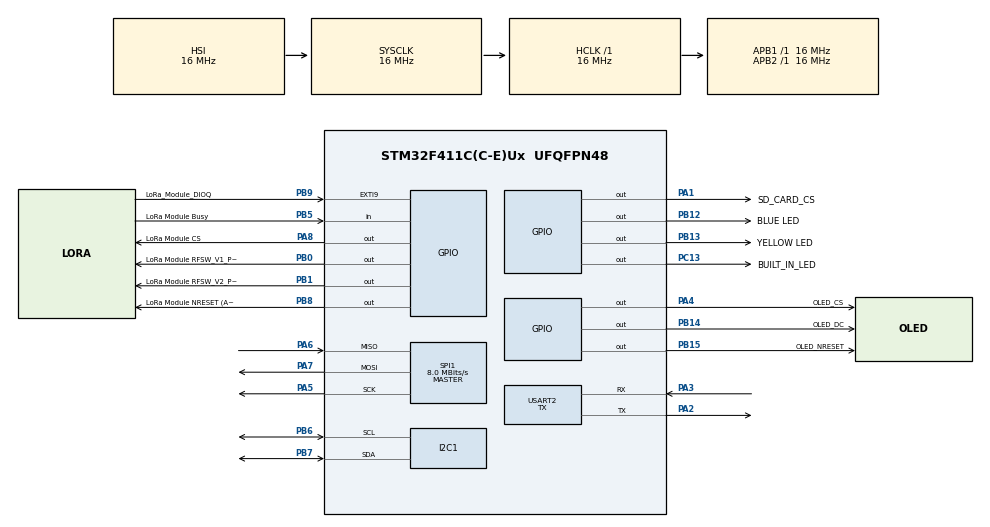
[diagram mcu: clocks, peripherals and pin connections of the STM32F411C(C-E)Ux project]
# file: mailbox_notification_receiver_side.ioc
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I2C1.GeneralCallMode=I2C_GENERALCALL_DISABLE
I2C1.I2C_Mode=I2C_Standard
Mcu.Family=STM32F4
Mcu.Name=STM32F411C(C-E)Ux
Mcu.Package=UFQFPN48
NVIC.EXTI9_5_IRQn=true\:0\:0\:false\:false\:true\:true\:true\:true
NVIC.PriorityGroup=NVIC_PRIORITYGROUP_4
PA1.GPIO_Label=SD_CARD_CS
PA1.PinState=GPIO_PIN_SET
PA1.Signal=GPIO_Output
PA2.GPIO_Speed=GPIO_SPEED_FREQ_LOW
PA2.Mode=Asynchronous
PA2.Signal=USART2_TX
PA3.GPIO_Speed=GPIO_SPEED_FREQ_LOW
PA3.Mode=Asynchronous
PA3.Signal=USART2_RX
PA4.GPIO_Label=OLED_CS
PA4.PinState=GPIO_PIN_SET
PA4.Signal=GPIO_Output
PA5.GPIO_Speed=GPIO_SPEED_FREQ_LOW
PA5.Mode=Full_Duplex_Master
PA5.Signal=SPI1_SCK
PA6.GPIO_Speed=GPIO_SPEED_FREQ_LOW
PA6.Mode=Full_Duplex_Master
PA6.Signal=SPI1_MISO
PA7.GPIO_Speed=GPIO_SPEED_FREQ_LOW
PA7.Mode=Full_Duplex_Master
PA7.Signal=SPI1_MOSI
PA8.GPIO_Label=LoRa Module CS
PA8.PinState=GPIO_PIN_SET
PA8.Signal=GPIO_Output
PB0.GPIO_Label=LoRa Module RFSW_V1_PIN_POS
PB0.Signal=GPIO_Output
PB1.GPIO_Label=LoRa Module RFSW_V2_PIN_POS
PB1.Signal=GPIO_Output
PB12.GPIO_Label=BLUE LED
PB12.Signal=GPIO_Output
PB13.GPIO_Label=YELLOW LED
PB13.PinState=GPIO_PIN_RESET
PB13.Signal=GPIO_Output
PB14.GPIO_Label=OLED_DC
PB14.Signal=GPIO_Output
PB15.GPIO_Label=OLED_NRESET
PB15.PinState=GPIO_PIN_SET
PB15.Signal=GPIO_Output
PB5.GPIO_Label=LoRa Module Busy
PB5.Signal=GPIO_Input
PB6.GPIO_Speed=GPIO_SPEED_FREQ_LOW
PB6.Mode=I2C
PB6.Signal=I2C1_SCL
PB7.GPIO_Speed=GPIO_SPEED_FREQ_LOW
PB7.Mode=I2C
PB7.Signal=I2C1_SDA
PB8.GPIO_Label=LoRa Module NRESET (Active-Low)
PB8.PinState=GPIO_PIN_SET
PB8.Signal=GPIO_Output
PB9.GPIO_Label=LoRa_Module_DIOQ
PB9.GPIO_PuPd=GPIO_PULLDOWN
PB9.Signal=GPXTI9
PC13-ANTI_TAMP.GPIO_Label=BUILT_IN_LED
PC13-ANTI_TAMP.PinState=GPIO_PIN_SET
PC13-ANTI_TAMP.Signal=GPIO_Output
PC14-OSC32_IN.Mode=LSE-External-Oscillator
PC14-OSC32_IN.Signal=RCC_OSC32_IN
PC15-OSC32_OUT.Mode=LSE-External-Oscillator
PC15-OSC32_OUT.Signal=RCC_OSC32_OUT
ProjectManager.HeapSize=0x200
ProjectManager.StackSize=0x400
ProjectManager.TargetToolchain=STM32CubeIDE
RCC.48MHZClocksFreq_Value=48000000
RCC.AHBFreq_Value=16000000
RCC.APB1Freq_Value=16000000
RCC.APB1TimFreq_Value=16000000
RCC.APB2Freq_Value=16000000
RCC.APB2TimFreq_Value=16000000
RCC.CortexFreq_Value=16000000
RCC.HCLKFreq_Value=16000000
RCC.HSE_VALUE=25000000
RCC.HSI_VALUE=16000000
RCC.RCC_RTC_Clock_Source=RCC_RTCCLKSOURCE_LSE
RCC.RCC_RTC_Clock_SourceVirtual=RCC_RTCCLKSOURCE_LSE
RCC.SYSCLKFreq_VALUE=16000000
RCC.VCOOutputFreq_Value=192000000
SPI1.BaudRatePrescaler=SPI_BAUDRATEPRESCALER_2
SPI1.CLKPhase=SPI_PHASE_1EDGE
SPI1.CalculateBaudRate=8.0 MBits/s
SPI1.Direction=SPI_DIRECTION_2LINES
SPI1.Mode=SPI_MODE_MASTER
SPI1.VirtualType=VM_MASTER
USART2.Mode=MODE_TX
USART2.VirtualMode=VM_ASYNC
VP_RTC_VS_RTC_Activate.Mode=RTC_Enabled
VP_RTC_VS_RTC_Calendar.Mode=RTC_Calendar
board=custom

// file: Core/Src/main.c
/* USER CODE BEGIN Header */
/**
  ******************************************************************************
  * @file           : main.c
  * @brief          : Main program body
  ******************************************************************************
  * @attention
  *
  * Copyright (c) 2026 STMicroelectronics.
  * All rights reserved.
  *
  * This software is licensed under terms that can be found in the LICENSE file
  * in the root directory of this software component.
  * If no LICENSE file comes with this software, it is provided AS-IS.
  *
  ******************************************************************************
  */
/* USER CODE END Header */
#include "main.h"

/* USER CODE BEGIN Includes */
#include "rylr689_driver.h"
#include "ds3231_driver.h"
#include "stm32_commons.h"
#include "sdCard_driver.h"
#include "ff.h"
#include "oled_sh1106_driver.h"
#include <string.h>

/* USER CODE END Includes */

/* USER CODE BEGIN PD */
#define LAST_UPDATE_HEADER_LINE		0
#define DATE_HEADER_LINE 			1
#define TIME_HEADER_LINE 			2
#define MAIL_STATUS_HEADER_LINE 	4
#define MAIL_MSG_LINE_START 		5
#define MAIL_MSG_LINE_END 			7
#define MISSED_NOTIFICATION_LIMIT	3
#define RTC_BASE_CENTURY			2000

#define TIME_FORMAT_WIDTH 8 /* HH:MM:SS -> 10 characters. */
#define DATE_FORMAT_WIDTH 10 /* MM:DD:YYYY -> 10 characters. */
#define MAILBOX_RXTX_MAGIC_NUMBER 0xDEADBEEFU

/* USER CODE END PD */

I2C_HandleTypeDef hi2c1;

RTC_HandleTypeDef hrtc;

SPI_HandleTypeDef hspi1;

UART_HandleTypeDef huart2;

/* USER CODE BEGIN PV */

sdCard_instance_t sdCardDev;

/* USER CODE END PV */

void SystemClock_Config(void);
static void MX_GPIO_Init(void);
static void MX_SPI1_Init(void);
static void MX_USART2_UART_Init(void);
static void MX_I2C1_Init(void);
static void MX_RTC_Init(void);
/* USER CODE BEGIN PFP */
static void rylry689_radio_init(rylr689_instance_t *dev, uint8_t *buffer);
static void sh1106_oled_init(oled_sh1106_instance_t *dev);
static void ds3231_rtc_init(ds3231_instance_t *dev);
static void sdCard_global_init(void);
static void syncIntRTCPeriphToExtRTC(ds3231_instance_t *dev);

static void getDateTime(RTC_TimeTypeDef *curTime, RTC_DateTypeDef *curDate);

/* USER CODE END PFP */

/* USER CODE BEGIN 0 */
typedef enum {
	STATE_APP_START = 0,
	STATE_SLEEP_ON_WAIT,
	STATE_ON_RECEIVE
} app_state_t;

typedef enum {
	MAIL_ABSENT = 0,
	MAIL_PRESENT,
	MAIL_MISSED_INITIAL_NOTIFICATION
} mail_state_t;

volatile app_state_t appState = STATE_APP_START;

/* USER CODE END 0 */

int main(void)
{

  /* MCU Configuration--------------------------------------------------------*/

  /* Reset of all peripherals, Initializes the Flash interface and the Systick. */
  HAL_Init();

  /* Configure the system clock */
  SystemClock_Config();

  /* Initialize all configured peripherals */
  MX_GPIO_Init();
  MX_SPI1_Init();
  MX_USART2_UART_Init();
  MX_I2C1_Init();
  MX_RTC_Init();
  /* USER CODE BEGIN 2 */

	/* Oled module START. */
	oled_sh1106_instance_t oled1;
	sh1106_oled_init(&oled1);
	/* Oled module END. */

	/* RTC module START. */
	ds3231_instance_t rtc1;
	ds3231_rtc_init(&rtc1);
	/* Update MCU RTC peripheral to avoid constantly querying ds3231 module. */
	syncIntRTCPeriphToExtRTC(&rtc1);

	RTC_TimeTypeDef curTime = {0};
	RTC_DateTypeDef curDate = {0};
	getDateTime(&curTime, &curDate);
	/* RTC module END. */

    /* SD card module START. */
	sdCard_global_init(); /* Initialize SD card. */

	FATFS fs;   /* File system. */
	FIL file;   /* File handler. */
	FRESULT res; /* Result from file function calls. */
	UINT br; /* Bytes read from file. */
	UINT bw; /* Bytes written to file. */

	/* Original files will have only the date stamp. If this file exist but the header
	 * did not match, create a new file with time stamp.
	 *
	 * The limitation is that when the original fails. Then each boot up for the current
	 * date will create new files with new time stamp. To avoid this, one possible solution
	 * is to create a backup file for failing files, then reuse the original filename. This way
	 * file creation can be reduced. The down-side is that creating a backup may take time if
	 * original file is large.
	 *
	 * */
	char filename[30];
	char header[] = "Date: [mm-dd-yyyy],Time (24-hour format): [hh-mm-ss],Status:\r\n";
	uint32_t headerLen = strlen(header);

	res = f_mount(&fs, "",0);

	snprintf(filename, 29, "mailbox_log_%04u-%02u-%02u.csv", \
			(curDate.Year + RTC_BASE_CENTURY), curDate.Month, curDate.Date);
	uint32_t startTime = HAL_GetTick();

	/* Open file for current date. */
	while((res = f_open(&file, filename, FA_WRITE | FA_READ | FA_OPEN_APPEND)) != FR_OK) {
		if((HAL_GetTick() - startTime) > SD_TIMEOUT) {
			char *errMsg = "SD card error! Failed to mount file system!";
			sh1106_setAtCharacter(&oled1, LAST_UPDATE_HEADER_LINE, 0);
			sh1106_write_line(&oled1, errMsg, strlen(errMsg));
			Error_Handler();
		}
	}

	/* Check if file is empty. If not check if header exist. */
	if(f_size(&file) > 0) {
		char testRead[headerLen];
		/* Set cursor to beginning. Then perform a read. */
		f_lseek(&file, 0);
		res = f_read(&file, testRead, headerLen, &br);

		/* 1st Method of handling failing files. */
		/* No matching header. Create new file for same date but with timestamp. */
		if(memcmp((char*)testRead, header, headerLen) != 0) {
			FIL tempFile;
			char tempFilename[FF_MAX_LFN];
			uint8_t readBuff[512];
			UINT bytesRead;
			UINT bytesWritten;
			FSIZE_t bytesCopied = 0;
			FSIZE_t bytesRemaining = f_size(&file); /* Though f_size() returns uint64_t, it may be unrealistic
																	  for a CSV file to be that large. So, only the lower 32-bit
																	  will be used for now. */

			char msgDspBuff[50] = "Error with log file! Performing backup...";
			char *bytesRemHeader = "Bytes remaining: ";
			char *bytesCopHeader = "Bytes copied: ";

			uint8_t oldBytesRemValBuffLen;
			uint8_t oldBytesCopValBuffLen;

			sh1106_setAtCharacter(&oled1, LAST_UPDATE_HEADER_LINE, 0);
			sh1106_write_line(&oled1, msgDspBuff, strlen(msgDspBuff));

			/* Line #2. */
			sprintf(msgDspBuff, "File size: %lu", (uint32_t)bytesRemaining);
			sh1106_setAtCharacter(&oled1, LAST_UPDATE_HEADER_LINE + 2, 0);
			sh1106_write_line(&oled1, msgDspBuff, strlen(msgDspBuff));

			/* Line #4. */
			sh1106_setAtCharacter(&oled1, LAST_UPDATE_HEADER_LINE + 3, 0);
			sh1106_write_line(&oled1, bytesRemHeader, strlen(bytesRemHeader));
			sprintf(msgDspBuff, "%lu", (uint32_t)bytesRemaining);
			sh1106_setAtCharacter(&oled1, LAST_UPDATE_HEADER_LINE + 4, 0);
			sh1106_write_line(&oled1, msgDspBuff, strlen(msgDspBuff));
			oldBytesRemValBuffLen = strlen(msgDspBuff);

			/* Line #5. */
			sh1106_setAtCharacter(&oled1, LAST_UPDATE_HEADER_LINE + 5, 0);
			sh1106_write_line(&oled1, bytesCopHeader, strlen(bytesCopHeader));
			sprintf(msgDspBuff, "%lu", (uint32_t)bytesCopied);
			sh1106_setAtCharacter(&oled1, LAST_UPDATE_HEADER_LINE + 6, 0);
			sh1106_write_line(&oled1, msgDspBuff, strlen(msgDspBuff));
			oldBytesCopValBuffLen = strlen(msgDspBuff);

			getDateTime(&curTime, &curDate);

			/* Filename format: mail_log_YYYY-MM-DD_hh-mm-ss.csv. */
			snprintf(tempFilename, FF_MAX_LFN, "bak_failing_log_%04u-%02u-%02u_%02u-%02u-%02u.csv", \
					(curDate.Year + RTC_BASE_CENTURY), curDate.Month, curDate.Date, \
					 curTime.Hours, curTime.Minutes, curTime.Seconds);

			f_open(&tempFile, tempFilename, (FA_WRITE | FA_READ | FA_OPEN_APPEND));

			/* Set cursor to beginning of original file. Then perform a read. */
			f_lseek(&file, 0);

			while(bytesRemaining > bytesCopied) {
				f_read(&file, readBuff, 512, &bytesRead);
				f_write(&tempFile, readBuff, bytesRead, &bytesWritten);
				f_sync(&tempFile);
				bytesCopied += bytesWritten;

				/* Display bytes remaining to be copied. */
				sprintf(msgDspBuff, "%lu", (uint32_t)(bytesRemaining - bytesCopied));

				if(oldBytesRemValBuffLen > strlen(msgDspBuff)) {
				  memset((msgDspBuff + strlen(msgDspBuff)), ' ', oldBytesRemValBuffLen - strlen(msgDspBuff));
				}
				sh1106_setAtCharacter(&oled1, LAST_UPDATE_HEADER_LINE + 4, 0);
				sh1106_write_line(&oled1, msgDspBuff, strlen(msgDspBuff));

				/* Display bytes copied. */
				sprintf(msgDspBuff, "%lu", (uint32_t)bytesCopied);
				if(oldBytesCopValBuffLen > strlen(msgDspBuff)) {
				  memset((msgDspBuff + strlen(msgDspBuff)), ' ', oldBytesCopValBuffLen - strlen(msgDspBuff));
				}
				sh1106_setAtCharacter(&oled1, LAST_UPDATE_HEADER_LINE + 6, 0);
				sh1106_write_line(&oled1, msgDspBuff, strlen(msgDspBuff));
			}
			sh1106_clearScreen(&oled1);

			f_close(&tempFile);

			/* Set cursor to beginning of original file. Then delete its contents, keeping file open. */
			f_lseek(&file, 0);
			f_truncate(&file);
			f_write(&file, header, headerLen, &bw);
			f_sync(&file);
		}
		else {
			/* Move back the cursor to EOF. To prepare for possible file write operations. */
			f_lseek(&file, f_size(&file));
		}

//		/* 2nd method. */
//		/* No matching header. Create new file for same date but with timestamp. */
//		if(memcmp((char*)testRead, header, headerLen) != 0) {
//			f_close(&file); /* Close current file. */
//
//			char tempFilename[FF_MAX_LFN];
//			getDateTime(&curTime, &curDate);
//			/* Filename format: mail_log_YYYY-MM-DD_hh-mm-ss.csv. */
//			snprintf(tempFilename, FF_MAX_LFN, "mailbox_log_%04u-%02u-%02u_%02u-%02u-%02u.csv", \
//					(curDate.Year + RTC_BASE_CENTURY), curDate.Month, curDate.Date, \
//					 curTime.Hours, curTime.Minutes, curTime.Seconds);
//			f_open(&file, tempFilename, (FA_WRITE | FA_READ | FA_OPEN_APPEND));
//			res = f_write(&file, header, headerLen, &bw);
//			f_sync(&file);
//		}
//		else {
//			/* Move back the cursor to EOF. To prepare for possible file write operations. */
//			f_lseek(&file, fileSize);
//		}
	}
	else {
		res = f_write(&file, header, headerLen, &bw);
		f_sync(&file);
	}

//	/* For debug. */
//	f_close(&file);
//	HAL_GPIO_WritePin(YELLOW_LED_GPIO_Port, YELLOW_LED_Pin, GPIO_PIN_SET);
//	HAL_GPIO_WritePin(BLUE_LED_GPIO_Port, BLUE_LED_Pin, GPIO_PIN_SET);
	/* SD card module END. */

	HAL_GPIO_WritePin(BUILT_IN_LED_GPIO_Port, BUILT_IN_LED_Pin, GPIO_PIN_RESET);

	/* Radio module START. */
	uint8_t status[256];
	rylr689_instance_t radio1;
	rylry689_radio_init(&radio1, status);
	uint32_t packetSizeReceived;
	/* Radio module END. */

	char msg[50];

	/* +1 for null character. */
	char dateBuff[DATE_FORMAT_WIDTH + 1];
	char timeBuff[TIME_FORMAT_WIDTH + 1];

	char* lastUpdateHeader = "Last updated:";
	char *dateHeader = "Date: ";
	char *timeHeader = "Time: ";
	char *mailHeader = "Mailbox Status: ";

	/* Write headers to designated lines. */
	sh1106_setAtCharacter(&oled1, LAST_UPDATE_HEADER_LINE, 0);
	sh1106_write_line(&oled1, lastUpdateHeader, strlen(lastUpdateHeader));

	sh1106_setAtCharacter(&oled1, DATE_HEADER_LINE, 0);
	sh1106_write_line(&oled1, dateHeader, strlen(dateHeader));

	sh1106_setAtCharacter(&oled1, TIME_HEADER_LINE, 0);
	sh1106_write_line(&oled1, timeHeader, strlen(timeHeader));

	sh1106_setAtCharacter(&oled1, MAIL_STATUS_HEADER_LINE, 0);
	sh1106_write_line(&oled1, mailHeader, strlen(mailHeader));

	snprintf(dateBuff, DATE_FORMAT_WIDTH + 1,"%02u/%02u/%04u", curDate.Month, curDate.Date, (uint16_t)curDate.Year + RTC_BASE_CENTURY);
	snprintf(timeBuff, TIME_FORMAT_WIDTH + 1, "%02u:%02u:%02u", curTime.Hours, curTime.Minutes, curTime.Seconds);

	/* Go back to date line. */
	sh1106_setAtCharacter(&oled1, DATE_HEADER_LINE, strlen(dateHeader));
	sh1106_write_line(&oled1, dateBuff, strlen(dateBuff));

	/* Go back to time line. */
	sh1106_setAtCharacter(&oled1, TIME_HEADER_LINE, strlen(timeHeader));
	sh1106_write_line(&oled1, timeBuff, strlen(timeBuff));

	/* Go to message line. */
	sh1106_setAtCharacter(&oled1, MAIL_MSG_LINE_START, 0);

	sprintf(msg, "No mail!");
	sh1106_write_line(&oled1, msg, strlen(msg));

	uint8_t oldStatus = MAIL_ABSENT;
	uint8_t oldMsgLen = strlen(msg);
	RTC_DateTypeDef savedDate = curDate;

  /* USER CODE END 2 */

  /* Infinite loop */
  /* USER CODE BEGIN WHILE */

  while (1) {
	  switch(appState) {
		  case STATE_APP_START:
			  rylr689_radio_receive_it(&radio1);
			  appState = STATE_SLEEP_ON_WAIT;
			  break;
		  case STATE_SLEEP_ON_WAIT:
			  /* Put device to sleep. Do not change the status here. Only ISR can change the status upon receiving packet.
			   * For now, radio will be ON while MCU is in STOP mode waiting for interrupt from radio. */

			  /* Set to STOP mode here. MCU may wake up from non-radio related wake-up signal, but will be
			   * handled by the application's state.  */
//			  enterStopMode();
//
//			  /* Sleeps... */
//
//			  /* Recover*/
//			  SystemClock_Config();
//			  HAL_ResumeTick();
//
//			  /* Clear wake up flag for clean sleep state after waking. */
//			  clearWakeUpFlags();

			  break;
		  case STATE_ON_RECEIVE:

			  /* Fetch packet. */
			  rylr689_radio_get_packet(&radio1, &packetSizeReceived);

			  /* Packet must be 5 bytes. */
			  if(packetSizeReceived != sizeof(uint32_t) + 1) {
				  Error_Handler();
			  }

			  uint32_t magicVal;
			  /* Skip first bytes then copy the last four bytes. */
			  memcpy(&magicVal, radio1.rxBuff + 1, sizeof(uint32_t));

			  if(magicVal != MAILBOX_RXTX_MAGIC_NUMBER) {
				  Error_Handler();
			  }

			  getDateTime(&curTime, &curDate);
			  /* Update date only when it is different. */
			  if((curDate.Month != savedDate.Month) || (curDate.Date != savedDate.Date ) || (curDate.Year != savedDate.Year)) {
				  	  savedDate = curDate;
					  /* Go back to Date header line. */
					  sh1106_setAtCharacter(&oled1, DATE_HEADER_LINE, strlen(dateHeader));
					  snprintf(dateBuff, DATE_FORMAT_WIDTH + 1,"%02u/%02u/%04u", curDate.Month, curDate.Date, (uint16_t)curDate.Year + RTC_BASE_CENTURY);
					  sh1106_write_line(&oled1, dateBuff, DATE_FORMAT_WIDTH);
			  }

			  /* Go back to Time header line and update time every second. */
			  sh1106_setAtCharacter(&oled1, TIME_HEADER_LINE, strlen(timeHeader));
			  snprintf(timeBuff, TIME_FORMAT_WIDTH + 1, "%02u:%02u:%02u", curTime.Hours, curTime.Minutes, curTime.Seconds);
			  sh1106_write_line(&oled1, timeBuff, TIME_FORMAT_WIDTH);

			  /* Check mailbox status. */
			  switch(status[0]) {
				  case 0:
					  sprintf(msg, "No mail!");
					  HAL_GPIO_WritePin(YELLOW_LED_GPIO_Port, YELLOW_LED_Pin, GPIO_PIN_SET);
					  HAL_GPIO_WritePin(BLUE_LED_GPIO_Port, BLUE_LED_Pin, GPIO_PIN_RESET);
					  break;
				  case 1:
					  sprintf(msg, "New mail arrived!");
					  HAL_GPIO_WritePin(YELLOW_LED_GPIO_Port, YELLOW_LED_Pin, GPIO_PIN_RESET);
					  HAL_GPIO_WritePin(BLUE_LED_GPIO_Port, BLUE_LED_Pin, GPIO_PIN_SET);
					  break;
				  case 2:
					  sprintf(msg, "Old and possibly new mail inside mailbox!");
					  HAL_GPIO_WritePin(YELLOW_LED_GPIO_Port, YELLOW_LED_Pin, GPIO_PIN_SET);
					  HAL_GPIO_WritePin(BLUE_LED_GPIO_Port, BLUE_LED_Pin, GPIO_PIN_SET);
					  break;
				  default:
					  /* For testing only. */
					  sprintf(msg, "False alarm!");
					  HAL_GPIO_WritePin(YELLOW_LED_GPIO_Port, YELLOW_LED_Pin, GPIO_PIN_RESET);
					  HAL_GPIO_WritePin(BLUE_LED_GPIO_Port, BLUE_LED_Pin, GPIO_PIN_RESET);
			  }
			  /* For debug. */
			  HAL_UART_Transmit(&huart2, (uint8_t*)msg, strlen(msg), 100);

			  char log[101];
			  snprintf(log, 100, "%02u/%02u/%04u,%02u:%02u:%02u,%s\r\n", \
					   curDate.Month, curDate.Date, (uint16_t)curDate.Year + RTC_BASE_CENTURY, \
					   curTime.Hours, curTime.Minutes, curTime.Seconds, msg);

			  f_write(&file, log, strlen(log), &bw);
			  f_sync(&file);

			/* Go to message line. Update only if status has changed.*/
			if(status[0] != oldStatus) {
				uint8_t newMsgLen = strlen(msg);

				/* For erasing left-over characters from old message, if necessary. */
				if(oldMsgLen > newMsgLen) {
					memset((msg + newMsgLen), ' ', oldMsgLen - newMsgLen);
				}

				/* Set cursor for the new message and write new message. */
				sh1106_setAtCharacter(&oled1, MAIL_MSG_LINE_START, 0);
				sh1106_write_line(&oled1, msg, (oldMsgLen > newMsgLen) ? oldMsgLen : newMsgLen);

				/* Update "new" old. */
				oldStatus = status[0];
				oldMsgLen = newMsgLen;
			}
			/* Reset state. */
			appState = STATE_APP_START;
			break;
		  default:
			  /* Do nothing. */
	  }
  }

    /* USER CODE END WHILE */

}

void SystemClock_Config(void)
{
  RCC_OscInitTypeDef RCC_OscInitStruct = {0};
  RCC_ClkInitTypeDef RCC_ClkInitStruct = {0};

  /** Configure the main internal regulator output voltage
  */
  __HAL_RCC_PWR_CLK_ENABLE();
  __HAL_PWR_VOLTAGESCALING_CONFIG(PWR_REGULATOR_VOLTAGE_SCALE1);

  /** Initializes the RCC Oscillators according to the specified parameters
  * in the RCC_OscInitTypeDef structure.
  */
  RCC_OscInitStruct.OscillatorType = RCC_OSCILLATORTYPE_HSI|RCC_OSCILLATORTYPE_LSE;
  RCC_OscInitStruct.LSEState = RCC_LSE_ON;
  RCC_OscInitStruct.HSIState = RCC_HSI_ON;
  RCC_OscInitStruct.HSICalibrationValue = RCC_HSICALIBRATION_DEFAULT;
  RCC_OscInitStruct.PLL.PLLState = RCC_PLL_NONE;
  if (HAL_RCC_OscConfig(&RCC_OscInitStruct) != HAL_OK)
  {
    Error_Handler();
  }

  /** Initializes the CPU, AHB and APB buses clocks
  */
  RCC_ClkInitStruct.ClockType = RCC_CLOCKTYPE_HCLK|RCC_CLOCKTYPE_SYSCLK
                              |RCC_CLOCKTYPE_PCLK1|RCC_CLOCKTYPE_PCLK2;
  RCC_ClkInitStruct.SYSCLKSource = RCC_SYSCLKSOURCE_HSI;
  RCC_ClkInitStruct.AHBCLKDivider = RCC_SYSCLK_DIV1;
  RCC_ClkInitStruct.APB1CLKDivider = RCC_HCLK_DIV1;
  RCC_ClkInitStruct.APB2CLKDivider = RCC_HCLK_DIV1;

  if (HAL_RCC_ClockConfig(&RCC_ClkInitStruct, FLASH_LATENCY_0) != HAL_OK)
  {
    Error_Handler();
  }
}

static void MX_I2C1_Init(void)
{

  hi2c1.Instance = I2C1;
  hi2c1.Init.ClockSpeed = 100000;
  hi2c1.Init.DutyCycle = I2C_DUTYCYCLE_2;
  hi2c1.Init.OwnAddress1 = 0;
  hi2c1.Init.AddressingMode = I2C_ADDRESSINGMODE_7BIT;
  hi2c1.Init.DualAddressMode = I2C_DUALADDRESS_DISABLE;
  hi2c1.Init.OwnAddress2 = 0;
  hi2c1.Init.GeneralCallMode = I2C_GENERALCALL_DISABLE;
  hi2c1.Init.NoStretchMode = I2C_NOSTRETCH_DISABLE;
  if (HAL_I2C_Init(&hi2c1) != HAL_OK)
  {
    Error_Handler();
  }

}

static void MX_RTC_Init(void)
{

  RTC_TimeTypeDef sTime = {0};
  RTC_DateTypeDef sDate = {0};

  /** Initialize RTC Only
  */
  hrtc.Instance = RTC;
  hrtc.Init.HourFormat = RTC_HOURFORMAT_24;
  hrtc.Init.AsynchPrediv = 127;
  hrtc.Init.SynchPrediv = 255;
  hrtc.Init.OutPut = RTC_OUTPUT_DISABLE;
  hrtc.Init.OutPutPolarity = RTC_OUTPUT_POLARITY_HIGH;
  hrtc.Init.OutPutType = RTC_OUTPUT_TYPE_OPENDRAIN;
  if (HAL_RTC_Init(&hrtc) != HAL_OK)
  {
    Error_Handler();
  }

  /** Initialize RTC and set the Time and Date
  */
  sTime.Hours = 0x0;
  sTime.Minutes = 0x0;
  sTime.Seconds = 0x0;
  sTime.DayLightSaving = RTC_DAYLIGHTSAVING_NONE;
  sTime.StoreOperation = RTC_STOREOPERATION_RESET;
  if (HAL_RTC_SetTime(&hrtc, &sTime, RTC_FORMAT_BCD) != HAL_OK)
  {
    Error_Handler();
  }
  sDate.WeekDay = RTC_WEEKDAY_MONDAY;
  sDate.Month = RTC_MONTH_JANUARY;
  sDate.Date = 0x1;
  sDate.Year = 0x0;

  if (HAL_RTC_SetDate(&hrtc, &sDate, RTC_FORMAT_BCD) != HAL_OK)
  {
    Error_Handler();
  }

}

static void MX_SPI1_Init(void)
{

  /* SPI1 parameter configuration*/
  hspi1.Instance = SPI1;
  hspi1.Init.Mode = SPI_MODE_MASTER;
  hspi1.Init.Direction = SPI_DIRECTION_2LINES;
  hspi1.Init.DataSize = SPI_DATASIZE_8BIT;
  hspi1.Init.CLKPolarity = SPI_POLARITY_LOW;
  hspi1.Init.CLKPhase = SPI_PHASE_1EDGE;
  hspi1.Init.NSS = SPI_NSS_SOFT;
  hspi1.Init.BaudRatePrescaler = SPI_BAUDRATEPRESCALER_2;
  hspi1.Init.FirstBit = SPI_FIRSTBIT_MSB;
  hspi1.Init.TIMode = SPI_TIMODE_DISABLE;
  hspi1.Init.CRCCalculation = SPI_CRCCALCULATION_DISABLE;
  hspi1.Init.CRCPolynomial = 10;
  if (HAL_SPI_Init(&hspi1) != HAL_OK)
  {
    Error_Handler();
  }

}

static void MX_USART2_UART_Init(void)
{

  huart2.Instance = USART2;
  huart2.Init.BaudRate = 115200;
  huart2.Init.WordLength = UART_WORDLENGTH_8B;
  huart2.Init.StopBits = UART_STOPBITS_1;
  huart2.Init.Parity = UART_PARITY_NONE;
  huart2.Init.Mode = UART_MODE_TX;
  huart2.Init.HwFlowCtl = UART_HWCONTROL_NONE;
  huart2.Init.OverSampling = UART_OVERSAMPLING_16;
  if (HAL_UART_Init(&huart2) != HAL_OK)
  {
    Error_Handler();
  }

}

static void MX_GPIO_Init(void)
{
  GPIO_InitTypeDef GPIO_InitStruct = {0};

  /* GPIO Ports Clock Enable */
  __HAL_RCC_GPIOC_CLK_ENABLE();
  __HAL_RCC_GPIOA_CLK_ENABLE();
  __HAL_RCC_GPIOB_CLK_ENABLE();

  /*Configure GPIO pin Output Level */
  HAL_GPIO_WritePin(BUILT_IN_LED_GPIO_Port, BUILT_IN_LED_Pin, GPIO_PIN_SET);

  /*Configure GPIO pin Output Level */
  HAL_GPIO_WritePin(GPIOA, SD_CARD_CS_Pin|OLED_CS_Pin|LoRa_Module_CS_Pin, GPIO_PIN_SET);

  /*Configure GPIO pin Output Level */
  HAL_GPIO_WritePin(GPIOB, LoRa_Module_RFSW_V1_PIN_POS_Pin|LoRa_Module_RFSW_V2_PIN_POS_Pin|BLUE_LED_Pin|YELLOW_LED_Pin
                          |OLED_DC_Pin, GPIO_PIN_RESET);

  /*Configure GPIO pin Output Level */
  HAL_GPIO_WritePin(GPIOB, OLED_NRESET_Pin|LoRa_Module_NRESET_Pin, GPIO_PIN_SET);

  /*Configure GPIO pin : BUILT_IN_LED_Pin */
  GPIO_InitStruct.Pin = BUILT_IN_LED_Pin;
  GPIO_InitStruct.Mode = GPIO_MODE_OUTPUT_PP;
  GPIO_InitStruct.Pull = GPIO_NOPULL;
  GPIO_InitStruct.Speed = GPIO_SPEED_FREQ_LOW;
  HAL_GPIO_Init(BUILT_IN_LED_GPIO_Port, &GPIO_InitStruct);

  /*Configure GPIO pins : SD_CARD_CS_Pin OLED_CS_Pin LoRa_Module_CS_Pin */
  GPIO_InitStruct.Pin = SD_CARD_CS_Pin|OLED_CS_Pin|LoRa_Module_CS_Pin;
  GPIO_InitStruct.Mode = GPIO_MODE_OUTPUT_PP;
  GPIO_InitStruct.Pull = GPIO_NOPULL;
  GPIO_InitStruct.Speed = GPIO_SPEED_FREQ_LOW;
  HAL_GPIO_Init(GPIOA, &GPIO_InitStruct);

  /*Configure GPIO pins : LoRa_Module_RFSW_V1_PIN_POS_Pin LoRa_Module_RFSW_V2_PIN_POS_Pin BLUE_LED_Pin YELLOW_LED_Pin
                           OLED_DC_Pin OLED_NRESET_Pin LoRa_Module_NRESET_Pin */
  GPIO_InitStruct.Pin = LoRa_Module_RFSW_V1_PIN_POS_Pin|LoRa_Module_RFSW_V2_PIN_POS_Pin|BLUE_LED_Pin|YELLOW_LED_Pin
                          |OLED_DC_Pin|OLED_NRESET_Pin|LoRa_Module_NRESET_Pin;
  GPIO_InitStruct.Mode = GPIO_MODE_OUTPUT_PP;
  GPIO_InitStruct.Pull = GPIO_NOPULL;
  GPIO_InitStruct.Speed = GPIO_SPEED_FREQ_LOW;
  HAL_GPIO_Init(GPIOB, &GPIO_InitStruct);

  /*Configure GPIO pin : LoRa_Module_Busy_Pin */
  GPIO_InitStruct.Pin = LoRa_Module_Busy_Pin;
  GPIO_InitStruct.Mode = GPIO_MODE_INPUT;
  GPIO_InitStruct.Pull = GPIO_NOPULL;
  HAL_GPIO_Init(LoRa_Module_Busy_GPIO_Port, &GPIO_InitStruct);

  /*Configure GPIO pin : LoRa_Module_DIOQ_Pin */
  GPIO_InitStruct.Pin = LoRa_Module_DIOQ_Pin;
  GPIO_InitStruct.Mode = GPIO_MODE_IT_RISING;
  GPIO_InitStruct.Pull = GPIO_PULLDOWN;
  HAL_GPIO_Init(LoRa_Module_DIOQ_GPIO_Port, &GPIO_InitStruct);

  /* EXTI interrupt init*/
  HAL_NVIC_SetPriority(EXTI9_5_IRQn, 0, 0);
  HAL_NVIC_EnableIRQ(EXTI9_5_IRQn);

}

/* USER CODE BEGIN 4 */

/* For FATFS. */
DWORD get_fattime (void) {
	RTC_TimeTypeDef curTime;
	RTC_DateTypeDef curDate;
	getDateTime(&curTime, &curDate);

	return (((curDate.Year + RTC_BASE_CENTURY) - 1980) << 25) | \
			(curDate.Month << 21) | (curDate.Date << 16) | \
			(curTime.Hours << 11) | (curTime.Minutes << 5) | \
			(curTime.Seconds >> 1);
}

static void getDateTime(RTC_TimeTypeDef *curTime, RTC_DateTypeDef *curDate) {
	/* Must be called in sequence per HAL documentation.
	 * The RTC_FORMAT_BIN converts the native BCD format to binary
	 * representation of the value. This will give us the actual
	 * number for each field. */
	HAL_RTC_GetTime(&hrtc, curTime, RTC_FORMAT_BIN);
	HAL_RTC_GetDate(&hrtc, curDate, RTC_FORMAT_BIN);
}

static void sdCard_global_init(void) {
	sdCardDev.csPin.port = SD_CARD_CS_GPIO_Port;
	sdCardDev.csPin.pin = SD_CARD_CS_Pin;
	sdCardDev.pinRead = wrapper_pin_read;
	sdCardDev.pinWrite = wrapper_pin_write;
	sdCardDev.delay = wrapper_delay;
	sdCardDev.spiHandle = &hspi1;
	sdCardDev.spiTransmitReceive = wrapper_spi_transmit_receive;
	sdCardDev.spiTransmit = wrapper_spi_transmit;
	sdCardDev.getState = wrapper_get_spi_state;
	sdCardDev.setBaudrate = wrapper_sdCard_spi_setBaudrate;
	sdCardDev.initialized = 0;

	xSd_Init(&sdCardDev);
}

static void rylry689_radio_init(rylr689_instance_t *dev, uint8_t *buffer) {
	dev->csPin.pin = LoRa_Module_CS_Pin;
	dev->csPin.port = LoRa_Module_CS_GPIO_Port;
	dev->busyPin.pin = LoRa_Module_Busy_Pin;
	dev->busyPin.port = LoRa_Module_Busy_GPIO_Port;
	dev->nresetPin.pin = LoRa_Module_NRESET_Pin;
	dev->nresetPin.port = LoRa_Module_NRESET_GPIO_Port;
	dev->itPin.pin = LoRa_Module_DIOQ_Pin;
	dev->itPin.port = LoRa_Module_DIOQ_GPIO_Port;
	dev->rfswV1Pin.pin = LoRa_Module_RFSW_V1_PIN_POS_Pin;
	dev->rfswV1Pin.port = LoRa_Module_RFSW_V1_PIN_POS_GPIO_Port;
	dev->rfswV2Pin.pin = LoRa_Module_RFSW_V2_PIN_POS_Pin;
	dev->rfswV2Pin.port = LoRa_Module_RFSW_V2_PIN_POS_GPIO_Port;
	dev->pinWrite = wrapper_pin_write;
	dev->pinRead = wrapper_pin_read;
	dev->spiHandle = &hspi1;
	dev->spiReceive = wrapper_spi_receive;
	dev->spiTransmit = wrapper_spi_transmit;
	dev->rxBuff = buffer;
	dev->rxBuffSize = RX_BUFF_SIZE;
	dev->txBuff = buffer;
	dev->txBuffSize = TX_BUFF_SIZE;
	dev->initialized = 0;

	rylr689_radio_init(dev);

}
static void sh1106_oled_init(oled_sh1106_instance_t *dev) {
	dev->cs.port = OLED_CS_GPIO_Port;
	dev->cs.pin = OLED_CS_Pin;
	dev->dc.port = OLED_DC_GPIO_Port;
	dev->dc.pin = OLED_DC_Pin;
	dev->nreset.port = OLED_NRESET_GPIO_Port;
	dev->nreset.pin = OLED_NRESET_Pin;
	dev->gpio_write = wrapper_pin_write;
	dev->delay_ms = wrapper_delay;
	dev->spiHandle = &hspi1;
	dev->spiTransmit = wrapper_spi_transmit;
	dev->initialized = 0;

	sh1106_init(dev);
}

static void ds3231_rtc_init(ds3231_instance_t *dev) {
	dev->i2cHandle = &hi2c1;
	dev->i2cTransmit = wrapper_i2c_transmit_repeat_start;
	dev->i2cReceive = wrapper_i2c_receive_repeat_start;
	dev->baseCentury = RTC_BASE_CENTURY;
	dev->initialized = 0;

	ds3231_rtc_module_init(dev);
}

static void syncIntRTCPeriphToExtRTC(ds3231_instance_t *dev) {

	RTC_TimeTypeDef sTime = {0};
	RTC_DateTypeDef sDate = {0};
	raw_date_t rDate;
	raw_time_t rTime;

	/* Already in BCD, when calling HAL, use the RTC_FORMAT_BCD option. */
	ds3231_getRawCurrentDate(dev, &rDate);
	ds3231_getRawCurrentTime(dev, &rTime);

	sTime.Hours = rTime.hours;
	sTime.Minutes = rTime.minutes;
	sTime.Seconds = rTime.seconds;
	sTime.DayLightSaving = RTC_DAYLIGHTSAVING_NONE;
	sTime.StoreOperation = RTC_STOREOPERATION_RESET;

	if (HAL_RTC_SetTime(&hrtc, &sTime, RTC_FORMAT_BCD) != HAL_OK)
	{
		Error_Handler();
	}

	sDate.WeekDay = rDate.dayOfWeek;
	sDate.Month = rDate.month;
	sDate.Date = rDate.date;
	sDate.Year = rDate.year;

	if (HAL_RTC_SetDate(&hrtc, &sDate, RTC_FORMAT_BCD) != HAL_OK)
	{
		Error_Handler();
	}
}

void HAL_GPIO_EXTI_Callback(uint16_t GPIO_Pin) {
//	UNUSED(GPIO_Pin);
	appState = STATE_ON_RECEIVE;
}
/* USER CODE END 4 */

void Error_Handler(void)
{
  __disable_irq();
  while (1)
  {
  }
}
